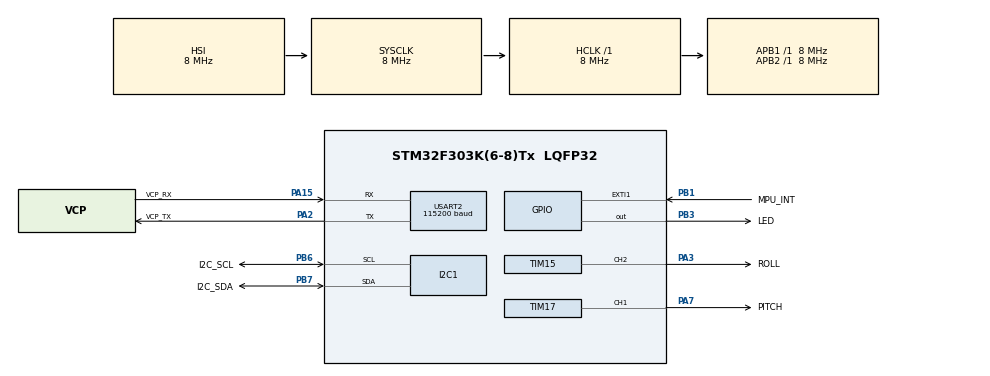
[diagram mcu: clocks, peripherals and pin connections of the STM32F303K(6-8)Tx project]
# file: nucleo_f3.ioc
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Mcu.Family=STM32F3
Mcu.Name=STM32F303K(6-8)Tx
Mcu.Package=LQFP32
NVIC.EXTI1_IRQn=true\:7\:0\:true\:false\:true\:true\:true\:true
NVIC.PriorityGroup=NVIC_PRIORITYGROUP_4
PA13.GPIO_Label=SWDIO
PA13.Signal=SYS_JTMS-SWDIO
PA14.GPIO_Label=SWCLK
PA14.Signal=SYS_JTCK-SWCLK
PA15.GPIO_Label=VCP_RX
PA15.Mode=Asynchronous
PA15.Signal=USART2_RX
PA2.GPIO_Label=VCP_TX
PA2.Mode=Asynchronous
PA2.Signal=USART2_TX
PA3.GPIO_Label=ROLL
PA3.Signal=S_TIM15_CH2
PA7.GPIO_Label=PITCH
PA7.Signal=S_TIM17_CH1
PB1.GPIO_Label=MPU_INT
PB1.Signal=GPXTI1
PB3.GPIO_Label=LED
PB3.Signal=GPIO_Output
PB6.GPIO_Label=I2C_SCL
PB6.Mode=I2C
PB6.Signal=I2C1_SCL
PB7.GPIO_Label=I2C_SDA
PB7.Mode=I2C
PB7.Signal=I2C1_SDA
PF0\ /\ OSC_IN.GPIO_Label=MCO
PF0\ /\ OSC_IN.Signal=RCC_OSC_IN
ProjectManager.HeapSize=0x200
ProjectManager.StackSize=0x400
ProjectManager.TargetToolchain=Makefile
RCC.AHBFreq_Value=8000000
RCC.APB1Freq_Value=8000000
RCC.APB2Freq_Value=8000000
RCC.CortexFreq_Value=8000000
RCC.HSE_VALUE=8000000
RCC.HSI_VALUE=8000000
RCC.SYSCLKFreq_VALUE=8000000
SH.S_TIM15_CH2.0=TIM15_CH2,PWM Generation2 CH2
SH.S_TIM17_CH1.0=TIM17_CH1,PWM Generation1 CH1
TIM15.Channel-PWM\ Generation2\ CH2=TIM_CHANNEL_2
TIM15.Period=2000-1
TIM15.Prescaler=16-1
TIM17.Channel=TIM_CHANNEL_1
TIM17.Period=2000-1
TIM17.Prescaler=16-1
TIM3.Period=2000-1
TIM3.Prescaler=16-1
USART2.BaudRate=115200
USART2.VirtualMode-Asynchronous=VM_ASYNC
USART2.WordLength=WORDLENGTH_8B
VP_TIM17_VS_ClockSourceINT.Mode=Enable_Timer
VP_TIM3_VS_ClockSourceINT.Mode=Internal
board=NUCLEO-F303K8

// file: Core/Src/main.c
/* USER CODE BEGIN Header */
/**
 ******************************************************************************
 * @file           : main.c
 * @brief          : Main program body
 ******************************************************************************
 * @attention
 *
 * Copyright (c) 2024 STMicroelectronics.
 * All rights reserved.
 *
 * This software is licensed under terms that can be found in the LICENSE file
 * in the root directory of this software component.
 * If no LICENSE file comes with this software, it is provided AS-IS.
 *
 ******************************************************************************
 */
/* USER CODE END Header */
#include "main.h"

/* USER CODE BEGIN Includes */
#include "app.h"
#include "i2c.h"
#include "string.h"
#include "stdio.h"
#include "servo.h"
/* USER CODE END Includes */

I2C_HandleTypeDef hi2c1;

TIM_HandleTypeDef htim3;
TIM_HandleTypeDef htim15;
TIM_HandleTypeDef htim17;

UART_HandleTypeDef huart2;

void SystemClock_Config(void);
static void MX_GPIO_Init(void);
static void MX_I2C1_Init(void);
static void MX_USART2_UART_Init(void);
static void MX_TIM3_Init(void);
static void MX_TIM17_Init(void);
static void MX_TIM15_Init(void);

/* USER CODE BEGIN 0 */
uint32_t millis()
{
  return HAL_GetTick();
}

void delay(uint32_t ms)
{
  HAL_Delay(ms);
}

void setLed(bool on)
{
  HAL_GPIO_WritePin(LED_GPIO_Port, LED_Pin, on ? GPIO_PIN_SET : GPIO_PIN_RESET);
}

I2C_status_t hal2i2c(HAL_StatusTypeDef status)
{
  switch (status)
  {
  case HAL_OK:
    return I2C_OK;
  case HAL_BUSY:
    return I2C_BUSY;
  case HAL_TIMEOUT:
    return I2C_TIMEOUT;
  default:
    return I2C_ERROR;
  }
  return I2C_ERROR;
}

I2C_status_t I2C_rx(uint16_t devAddr, uint8_t reg, uint8_t *dataBuffer, uint16_t dataSize)
{
  uint16_t shiftedAddr = devAddr << 1;
  uint8_t data = reg;

  HAL_StatusTypeDef status = HAL_I2C_Master_Transmit(&hi2c1, shiftedAddr, &data, sizeof(data), I2C_REQ_TIMEOUT);

  if (status != HAL_OK)
    return hal2i2c(status);

  status = HAL_I2C_Master_Receive(&hi2c1, shiftedAddr, dataBuffer, dataSize, I2C_REQ_TIMEOUT);

  return hal2i2c(status);
}

I2C_status_t I2C_tx(uint16_t devAddr, uint8_t reg, uint8_t *dataBuffer, uint16_t dataSize)
{
  if (dataSize > I2C_BUFFER_SIZE)
    return I2C_ERROR;

  uint16_t shiftedAddr = devAddr << 1;
  uint8_t data[I2C_BUFFER_SIZE];

  data[0] = reg;

  memcpy(data + 1, dataBuffer, dataSize);

  HAL_StatusTypeDef status = HAL_I2C_Master_Transmit(&hi2c1, shiftedAddr, data, dataSize + 1, I2C_REQ_TIMEOUT);

  return hal2i2c(status);
}

void HAL_GPIO_EXTI_Callback(uint16_t GPIO_Pin)
{
  switch (GPIO_Pin)
  {
  case MPU_INT_Pin:
    APP_mpuIntReqHandler();
    break;
  }
}

void serialPrint(char *str)
{
  HAL_UART_Transmit(&huart2, (uint8_t *)str, strlen(str), 100);
}

float map(float x, float in_min, float in_max, float out_min, float out_max)
{
  return (x - in_min) * (out_max - out_min) / (in_max - in_min) + out_min;
}

void enableServos()
{
  // pitch
  HAL_TIM_PWM_Start(&htim17, TIM_CHANNEL_1);

  // roll
  HAL_TIM_PWM_Start(&htim15, TIM_CHANNEL_2);
}

void disableServos()
{
  // pitch
  HAL_TIM_PWM_Stop(&htim17, TIM_CHANNEL_1);

  // roll
  HAL_TIM_PWM_Stop(&htim15, TIM_CHANNEL_2);
}

void setPitch(float angle)
{
  if (angle < SERVO_ANGLE_MIN)
    angle = SERVO_ANGLE_MIN;
  else if (angle > SERVO_ANGLE_MAX)
    angle = SERVO_ANGLE_MAX;

  htim17.Instance->CCR1 = (uint32_t)map(angle, SERVO_ANGLE_MIN, SERVO_ANGLE_MAX, 250.0, 1250.0); // 250 and 1250 are calculated from clock speed and ARR
}

void setRoll(float angle)
{
  if (angle < SERVO_ANGLE_MIN)
    angle = SERVO_ANGLE_MIN;
  else if (angle > SERVO_ANGLE_MAX)
    angle = SERVO_ANGLE_MAX;

  htim15.Instance->CCR2 = (uint32_t)map(angle, SERVO_ANGLE_MIN, SERVO_ANGLE_MAX, 250.0, 1250.0); // 250 and 1250 are calculated from clock speed and ARR
}

/* USER CODE END 0 */

int main(void)
{

  /* MCU Configuration--------------------------------------------------------*/

  /* Reset of all peripherals, Initializes the Flash interface and the Systick. */
  HAL_Init();

  /* Configure the system clock */
  SystemClock_Config();

  /* Initialize all configured peripherals */
  MX_GPIO_Init();
  MX_I2C1_Init();
  MX_USART2_UART_Init();
  MX_TIM3_Init();
  MX_TIM17_Init();
  MX_TIM15_Init();

  /* Infinite loop */
  /* USER CODE BEGIN WHILE */
  while (1)
  {
    APP_main();
    /* USER CODE END WHILE */

  }
}

void SystemClock_Config(void)
{
  RCC_OscInitTypeDef RCC_OscInitStruct = {0};
  RCC_ClkInitTypeDef RCC_ClkInitStruct = {0};
  RCC_PeriphCLKInitTypeDef PeriphClkInit = {0};

  /** Initializes the RCC Oscillators according to the specified parameters
  * in the RCC_OscInitTypeDef structure.
  */
  RCC_OscInitStruct.OscillatorType = RCC_OSCILLATORTYPE_HSI;
  RCC_OscInitStruct.HSIState = RCC_HSI_ON;
  RCC_OscInitStruct.HSICalibrationValue = RCC_HSICALIBRATION_DEFAULT;
  RCC_OscInitStruct.PLL.PLLState = RCC_PLL_NONE;
  if (HAL_RCC_OscConfig(&RCC_OscInitStruct) != HAL_OK)
  {
    Error_Handler();
  }

  /** Initializes the CPU, AHB and APB buses clocks
  */
  RCC_ClkInitStruct.ClockType = RCC_CLOCKTYPE_HCLK|RCC_CLOCKTYPE_SYSCLK
                              |RCC_CLOCKTYPE_PCLK1|RCC_CLOCKTYPE_PCLK2;
  RCC_ClkInitStruct.SYSCLKSource = RCC_SYSCLKSOURCE_HSI;
  RCC_ClkInitStruct.AHBCLKDivider = RCC_SYSCLK_DIV1;
  RCC_ClkInitStruct.APB1CLKDivider = RCC_HCLK_DIV1;
  RCC_ClkInitStruct.APB2CLKDivider = RCC_HCLK_DIV1;

  if (HAL_RCC_ClockConfig(&RCC_ClkInitStruct, FLASH_LATENCY_0) != HAL_OK)
  {
    Error_Handler();
  }
  PeriphClkInit.PeriphClockSelection = RCC_PERIPHCLK_I2C1;
  PeriphClkInit.I2c1ClockSelection = RCC_I2C1CLKSOURCE_HSI;
  if (HAL_RCCEx_PeriphCLKConfig(&PeriphClkInit) != HAL_OK)
  {
    Error_Handler();
  }
}

static void MX_I2C1_Init(void)
{

  hi2c1.Instance = I2C1;
  hi2c1.Init.Timing = 0x2000090E;
  hi2c1.Init.OwnAddress1 = 0;
  hi2c1.Init.AddressingMode = I2C_ADDRESSINGMODE_7BIT;
  hi2c1.Init.DualAddressMode = I2C_DUALADDRESS_DISABLE;
  hi2c1.Init.OwnAddress2 = 0;
  hi2c1.Init.OwnAddress2Masks = I2C_OA2_NOMASK;
  hi2c1.Init.GeneralCallMode = I2C_GENERALCALL_DISABLE;
  hi2c1.Init.NoStretchMode = I2C_NOSTRETCH_DISABLE;
  if (HAL_I2C_Init(&hi2c1) != HAL_OK)
  {
    Error_Handler();
  }

  /** Configure Analogue filter
  */
  if (HAL_I2CEx_ConfigAnalogFilter(&hi2c1, I2C_ANALOGFILTER_ENABLE) != HAL_OK)
  {
    Error_Handler();
  }

  /** Configure Digital filter
  */
  if (HAL_I2CEx_ConfigDigitalFilter(&hi2c1, 0) != HAL_OK)
  {
    Error_Handler();
  }

}

static void MX_TIM3_Init(void)
{

  TIM_ClockConfigTypeDef sClockSourceConfig = {0};
  TIM_MasterConfigTypeDef sMasterConfig = {0};

  htim3.Instance = TIM3;
  htim3.Init.Prescaler = 16-1;
  htim3.Init.CounterMode = TIM_COUNTERMODE_UP;
  htim3.Init.Period = 2000-1;
  htim3.Init.ClockDivision = TIM_CLOCKDIVISION_DIV1;
  htim3.Init.AutoReloadPreload = TIM_AUTORELOAD_PRELOAD_DISABLE;
  if (HAL_TIM_Base_Init(&htim3) != HAL_OK)
  {
    Error_Handler();
  }
  sClockSourceConfig.ClockSource = TIM_CLOCKSOURCE_INTERNAL;
  if (HAL_TIM_ConfigClockSource(&htim3, &sClockSourceConfig) != HAL_OK)
  {
    Error_Handler();
  }
  sMasterConfig.MasterOutputTrigger = TIM_TRGO_RESET;
  sMasterConfig.MasterSlaveMode = TIM_MASTERSLAVEMODE_DISABLE;
  if (HAL_TIMEx_MasterConfigSynchronization(&htim3, &sMasterConfig) != HAL_OK)
  {
    Error_Handler();
  }

}

static void MX_TIM15_Init(void)
{

  TIM_MasterConfigTypeDef sMasterConfig = {0};
  TIM_OC_InitTypeDef sConfigOC = {0};
  TIM_BreakDeadTimeConfigTypeDef sBreakDeadTimeConfig = {0};

  htim15.Instance = TIM15;
  htim15.Init.Prescaler = 16-1;
  htim15.Init.CounterMode = TIM_COUNTERMODE_UP;
  htim15.Init.Period = 2000-1;
  htim15.Init.ClockDivision = TIM_CLOCKDIVISION_DIV1;
  htim15.Init.RepetitionCounter = 0;
  htim15.Init.AutoReloadPreload = TIM_AUTORELOAD_PRELOAD_DISABLE;
  if (HAL_TIM_PWM_Init(&htim15) != HAL_OK)
  {
    Error_Handler();
  }
  sMasterConfig.MasterOutputTrigger = TIM_TRGO_RESET;
  sMasterConfig.MasterSlaveMode = TIM_MASTERSLAVEMODE_DISABLE;
  if (HAL_TIMEx_MasterConfigSynchronization(&htim15, &sMasterConfig) != HAL_OK)
  {
    Error_Handler();
  }
  sConfigOC.OCMode = TIM_OCMODE_PWM1;
  sConfigOC.Pulse = 0;
  sConfigOC.OCPolarity = TIM_OCPOLARITY_HIGH;
  sConfigOC.OCNPolarity = TIM_OCNPOLARITY_HIGH;
  sConfigOC.OCFastMode = TIM_OCFAST_DISABLE;
  sConfigOC.OCIdleState = TIM_OCIDLESTATE_RESET;
  sConfigOC.OCNIdleState = TIM_OCNIDLESTATE_RESET;
  if (HAL_TIM_PWM_ConfigChannel(&htim15, &sConfigOC, TIM_CHANNEL_2) != HAL_OK)
  {
    Error_Handler();
  }
  sBreakDeadTimeConfig.OffStateRunMode = TIM_OSSR_DISABLE;
  sBreakDeadTimeConfig.OffStateIDLEMode = TIM_OSSI_DISABLE;
  sBreakDeadTimeConfig.LockLevel = TIM_LOCKLEVEL_OFF;
  sBreakDeadTimeConfig.DeadTime = 0;
  sBreakDeadTimeConfig.BreakState = TIM_BREAK_DISABLE;
  sBreakDeadTimeConfig.BreakPolarity = TIM_BREAKPOLARITY_HIGH;
  sBreakDeadTimeConfig.BreakFilter = 0;
  sBreakDeadTimeConfig.AutomaticOutput = TIM_AUTOMATICOUTPUT_DISABLE;
  if (HAL_TIMEx_ConfigBreakDeadTime(&htim15, &sBreakDeadTimeConfig) != HAL_OK)
  {
    Error_Handler();
  }
  HAL_TIM_MspPostInit(&htim15);

}

static void MX_TIM17_Init(void)
{

  TIM_OC_InitTypeDef sConfigOC = {0};
  TIM_BreakDeadTimeConfigTypeDef sBreakDeadTimeConfig = {0};

  htim17.Instance = TIM17;
  htim17.Init.Prescaler = 16-1;
  htim17.Init.CounterMode = TIM_COUNTERMODE_UP;
  htim17.Init.Period = 2000-1;
  htim17.Init.ClockDivision = TIM_CLOCKDIVISION_DIV1;
  htim17.Init.RepetitionCounter = 0;
  htim17.Init.AutoReloadPreload = TIM_AUTORELOAD_PRELOAD_DISABLE;
  if (HAL_TIM_Base_Init(&htim17) != HAL_OK)
  {
    Error_Handler();
  }
  if (HAL_TIM_PWM_Init(&htim17) != HAL_OK)
  {
    Error_Handler();
  }
  sConfigOC.OCMode = TIM_OCMODE_PWM1;
  sConfigOC.Pulse = 0;
  sConfigOC.OCPolarity = TIM_OCPOLARITY_HIGH;
  sConfigOC.OCNPolarity = TIM_OCNPOLARITY_HIGH;
  sConfigOC.OCFastMode = TIM_OCFAST_DISABLE;
  sConfigOC.OCIdleState = TIM_OCIDLESTATE_RESET;
  sConfigOC.OCNIdleState = TIM_OCNIDLESTATE_RESET;
  if (HAL_TIM_PWM_ConfigChannel(&htim17, &sConfigOC, TIM_CHANNEL_1) != HAL_OK)
  {
    Error_Handler();
  }
  sBreakDeadTimeConfig.OffStateRunMode = TIM_OSSR_DISABLE;
  sBreakDeadTimeConfig.OffStateIDLEMode = TIM_OSSI_DISABLE;
  sBreakDeadTimeConfig.LockLevel = TIM_LOCKLEVEL_OFF;
  sBreakDeadTimeConfig.DeadTime = 0;
  sBreakDeadTimeConfig.BreakState = TIM_BREAK_DISABLE;
  sBreakDeadTimeConfig.BreakPolarity = TIM_BREAKPOLARITY_HIGH;
  sBreakDeadTimeConfig.BreakFilter = 0;
  sBreakDeadTimeConfig.AutomaticOutput = TIM_AUTOMATICOUTPUT_DISABLE;
  if (HAL_TIMEx_ConfigBreakDeadTime(&htim17, &sBreakDeadTimeConfig) != HAL_OK)
  {
    Error_Handler();
  }
  HAL_TIM_MspPostInit(&htim17);

}

static void MX_USART2_UART_Init(void)
{

  huart2.Instance = USART2;
  huart2.Init.BaudRate = 115200;
  huart2.Init.WordLength = UART_WORDLENGTH_8B;
  huart2.Init.StopBits = UART_STOPBITS_1;
  huart2.Init.Parity = UART_PARITY_NONE;
  huart2.Init.Mode = UART_MODE_TX_RX;
  huart2.Init.HwFlowCtl = UART_HWCONTROL_NONE;
  huart2.Init.OverSampling = UART_OVERSAMPLING_16;
  huart2.Init.OneBitSampling = UART_ONE_BIT_SAMPLE_DISABLE;
  huart2.AdvancedInit.AdvFeatureInit = UART_ADVFEATURE_NO_INIT;
  if (HAL_UART_Init(&huart2) != HAL_OK)
  {
    Error_Handler();
  }

}

static void MX_GPIO_Init(void)
{
  GPIO_InitTypeDef GPIO_InitStruct = {0};

  /* GPIO Ports Clock Enable */
  __HAL_RCC_GPIOF_CLK_ENABLE();
  __HAL_RCC_GPIOA_CLK_ENABLE();
  __HAL_RCC_GPIOB_CLK_ENABLE();

  /*Configure GPIO pin Output Level */
  HAL_GPIO_WritePin(LED_GPIO_Port, LED_Pin, GPIO_PIN_RESET);

  /*Configure GPIO pin : PF1 */
  GPIO_InitStruct.Pin = GPIO_PIN_1;
  GPIO_InitStruct.Mode = GPIO_MODE_ANALOG;
  GPIO_InitStruct.Pull = GPIO_NOPULL;
  HAL_GPIO_Init(GPIOF, &GPIO_InitStruct);

  /*Configure GPIO pins : PA0 PA1 PA4 PA5
                           PA6 PA8 PA9 PA10
                           PA11 PA12 */
  GPIO_InitStruct.Pin = GPIO_PIN_0|GPIO_PIN_1|GPIO_PIN_4|GPIO_PIN_5
                          |GPIO_PIN_6|GPIO_PIN_8|GPIO_PIN_9|GPIO_PIN_10
                          |GPIO_PIN_11|GPIO_PIN_12;
  GPIO_InitStruct.Mode = GPIO_MODE_ANALOG;
  GPIO_InitStruct.Pull = GPIO_NOPULL;
  HAL_GPIO_Init(GPIOA, &GPIO_InitStruct);

  /*Configure GPIO pins : PB0 PB4 PB5 */
  GPIO_InitStruct.Pin = GPIO_PIN_0|GPIO_PIN_4|GPIO_PIN_5;
  GPIO_InitStruct.Mode = GPIO_MODE_ANALOG;
  GPIO_InitStruct.Pull = GPIO_NOPULL;
  HAL_GPIO_Init(GPIOB, &GPIO_InitStruct);

  /*Configure GPIO pin : MPU_INT_Pin */
  GPIO_InitStruct.Pin = MPU_INT_Pin;
  GPIO_InitStruct.Mode = GPIO_MODE_IT_RISING;
  GPIO_InitStruct.Pull = GPIO_NOPULL;
  HAL_GPIO_Init(MPU_INT_GPIO_Port, &GPIO_InitStruct);

  /*Configure GPIO pin : LED_Pin */
  GPIO_InitStruct.Pin = LED_Pin;
  GPIO_InitStruct.Mode = GPIO_MODE_OUTPUT_PP;
  GPIO_InitStruct.Pull = GPIO_NOPULL;
  GPIO_InitStruct.Speed = GPIO_SPEED_FREQ_LOW;
  HAL_GPIO_Init(LED_GPIO_Port, &GPIO_InitStruct);

  /* EXTI interrupt init*/
  HAL_NVIC_SetPriority(EXTI1_IRQn, 7, 0);
  HAL_NVIC_EnableIRQ(EXTI1_IRQn);

}

void Error_Handler(void)
{
  __disable_irq();
  while (1)
  {
  }
}
